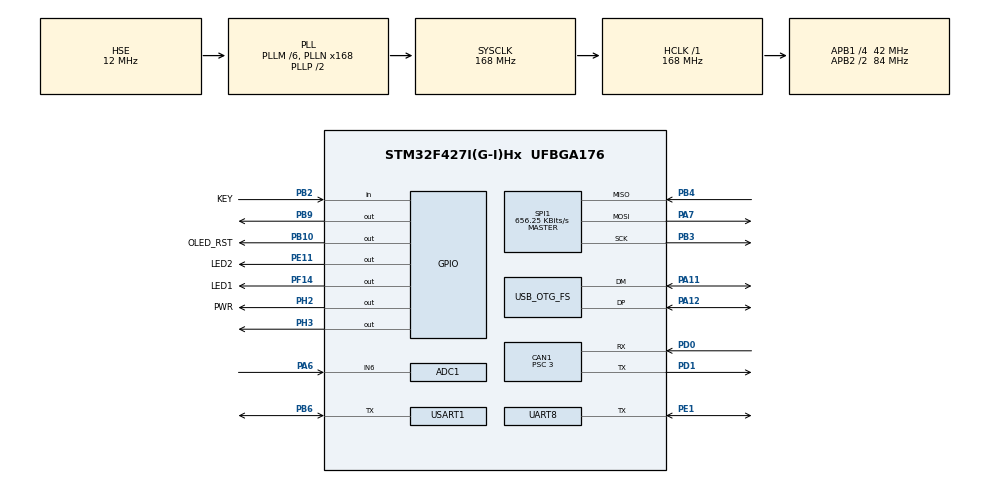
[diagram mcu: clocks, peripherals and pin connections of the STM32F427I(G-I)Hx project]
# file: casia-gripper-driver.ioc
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ADC1.Channel-0\#ChannelRegularConversion=ADC_CHANNEL_6
ADC1.NbrOfConversionFlag=1
ADC1.Rank-0\#ChannelRegularConversion=1
ADC1.SamplingTime-0\#ChannelRegularConversion=ADC_SAMPLETIME_3CYCLES
ADC1.master=1
CAN1.ABOM=ENABLE
CAN1.BS1=CAN_BS1_9TQ
CAN1.BS2=CAN_BS2_4TQ
CAN1.CalculateTimeBit=1000
CAN1.CalculateTimeQuantum=71.42857142857143
CAN1.Prescaler=3
CAN1.SJW=CAN_SJW_1TQ
Mcu.Family=STM32F4
Mcu.Name=STM32F427I(G-I)Hx
Mcu.Package=UFBGA176
NVIC.CAN1_RX0_IRQn=true\:0\:0\:false\:false\:true\:true\:true
NVIC.CAN1_TX_IRQn=true\:0\:0\:false\:false\:true\:true\:true
NVIC.OTG_FS_IRQn=true\:0\:0\:false\:false\:true\:false\:true
NVIC.PriorityGroup=NVIC_PRIORITYGROUP_4
NVIC.TIM1_UP_TIM10_IRQn=true\:0\:0\:false\:false\:true\:true\:true
NVIC.TIM6_DAC_IRQn=true\:0\:0\:false\:false\:true\:true\:true
NVIC.TimeBase=TIM6_DAC_IRQn
NVIC.TimeBaseIP=TIM6
NVIC.UART8_IRQn=true\:0\:0\:false\:false\:true\:true\:true
NVIC.USART1_IRQn=true\:0\:0\:false\:false\:true\:true\:true
PA11.GPIO_PuPd=GPIO_PULLUP
PA11.Mode=Device_Only
PA11.Signal=USB_OTG_FS_DM
PA12.GPIO_PuPd=GPIO_PULLUP
PA12.Mode=Device_Only
PA12.Signal=USB_OTG_FS_DP
PA13.Mode=Serial_Wire
PA13.Signal=SYS_JTMS-SWDIO
PA14.Mode=Serial_Wire
PA14.Signal=SYS_JTCK-SWCLK
PA6.Signal=ADCx_IN6
PA7.Mode=Full_Duplex_Master
PA7.Signal=SPI1_MOSI
PB10.GPIO_Label=OLED_RST
PB10.Signal=GPIO_Output
PB2/BOOT1.GPIO_Label=KEY
PB2/BOOT1.Signal=GPIO_Input
PB3.Mode=Full_Duplex_Master
PB3.Signal=SPI1_SCK
PB4.Mode=Full_Duplex_Master
PB4.Signal=SPI1_MISO
PB6.Mode=Half_duplex(single_wire_mode)
PB6.Signal=USART1_TX
PB9.Signal=GPIO_Output
PD0.Mode=Master
PD0.Signal=CAN1_RX
PD1.Mode=Master
PD1.Signal=CAN1_TX
PE1.Mode=Half_duplex(single_wire_mode)
PE1.Signal=UART8_TX
PE11.GPIO_Label=LED2
PE11.Signal=GPIO_Output
PF14.GPIO_Label=LED1
PF14.Signal=GPIO_Output
PH0/OSC_IN.Mode=HSE-External-Oscillator
PH0/OSC_IN.Signal=RCC_OSC_IN
PH1/OSC_OUT.Mode=HSE-External-Oscillator
PH1/OSC_OUT.Signal=RCC_OSC_OUT
PH2.GPIO_Label=PWR
PH2.Signal=GPIO_Output
PH3.Signal=GPIO_Output
ProjectManager.HeapSize=0x200
ProjectManager.StackSize=0x400
ProjectManager.TargetToolchain=STM32CubeIDE
RCC.48MHZClocksFreq_Value=48000000
RCC.AHBFreq_Value=168000000
RCC.APB1CLKDivider=RCC_HCLK_DIV4
RCC.APB1Freq_Value=42000000
RCC.APB1TimFreq_Value=84000000
RCC.APB2CLKDivider=RCC_HCLK_DIV2
RCC.APB2Freq_Value=84000000
RCC.APB2TimCLKDivider=2
RCC.APB2TimFreq_Value=168000000
RCC.CortexFreq_Value=168000000
RCC.HCLKFreq_Value=168000000
RCC.HSE_VALUE=12000000
RCC.HSI_VALUE=16000000
RCC.LSE_VALUE=32768
RCC.PLLM=6
RCC.PLLN=168
RCC.PLLQ=7
RCC.SYSCLKFreq_VALUE=168000000
RCC.SYSCLKSource=RCC_SYSCLKSOURCE_PLLCLK
RCC.VCOOutputFreq_Value=336000000
SH.ADCx_IN6.0=ADC1_IN6,IN6
SPI1.BaudRatePrescaler=SPI_BAUDRATEPRESCALER_128
SPI1.CalculateBaudRate=656.25 KBits/s
SPI1.Direction=SPI_DIRECTION_2LINES
SPI1.Mode=SPI_MODE_MASTER
SPI1.VirtualType=VM_MASTER
TIM10.Period=999
TIM10.Prescaler=8400-1
UART8.VirtualMode=Asynchronous
USART1.VirtualMode=VM_ASYNC
USB_DEVICE.CLASS_NAME_FS=CDC
USB_DEVICE.VirtualMode-CDC_FS=Cdc
USB_DEVICE.VirtualModeFS=Cdc_FS
USB_OTG_FS.VirtualMode=Device_Only
VP_SYS_VS_tim6.Mode=TIM6
VP_TIM10_VS_ClockSourceINT.Mode=Enable_Timer
VP_USB_DEVICE_VS_USB_DEVICE_CDC_FS.Mode=CDC_FS
board=demo

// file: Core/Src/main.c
/* USER CODE BEGIN Header */
/**
 ******************************************************************************
 * @file           : main.c
 * @brief          : Main program body
 ******************************************************************************
 * @attention
 *
 * <h2><center>&copy; Copyright (c) 2019 STMicroelectronics.
 * All rights reserved.</center></h2>
 *
 * This software component is licensed by ST under BSD 3-Clause license,
 * the "License"; You may not use this file except in compliance with the
 * License. You may obtain a copy of the License at:
 *                        opensource.org/licenses/BSD-3-Clause
 *
 ******************************************************************************
 */
/* USER CODE END Header */

#include "main.h"
#include "adc.h"
#include "can.h"
#include "spi.h"
#include "tim.h"
#include "usart.h"
#include "usb_device.h"
#include "gpio.h"

/* USER CODE BEGIN Includes */
#include "stdio.h"

#include "oled.h"
#include "bsp_can.h"
#include "pid.h"
#include "usbd_cdc_if.h"
//#include "remote_control.h"
/* USER CODE END Includes */

/* USER CODE BEGIN PD */
#define APP_RX_DATA_SIZE  2048
#define APP_TX_DATA_SIZE  2048
/* USER CODE END PD */

/* USER CODE BEGIN PV */

PID_TypeDef motor_pid[4];
int32_t set_spd = 0;
int32_t set_spd1 = 0;
int32_t set_spd2 = 0;
static int key_sta = 0;
int speed_step_sign = +1;

extern uint8_t UserRxBufferFS[APP_RX_DATA_SIZE];
extern uint32_t buffsize;
extern uint8_t UserTxBufferFS[APP_TX_DATA_SIZE];
extern uint32_t UserTxBufPtrOut;

uint16_t a[50];
char message[50];
char TxBuffer[50];
uint16_t TIM_COUNT[2];
#define SpeedStep 500

//uint32_t preticks;
//uint16_t i,len;

/* USER CODE END PV */

void SystemClock_Config(void);

/* USER CODE BEGIN 0 */
void Key_Scan()
{
    if (HAL_GPIO_ReadPin(KEY_GPIO_Port, KEY_Pin) == GPIO_PIN_RESET)
    {
        if (key_sta == 0)
        {
            key_sta = 1;
            set_spd1 += SpeedStep * speed_step_sign;

            if (set_spd1 > 1000)
            {
                speed_step_sign = -1;
            }
            if (set_spd1 < -1000)
            {
                speed_step_sign = 1;
            }
        }
    }
    else
    {
        key_sta = 0;
    }

}

/* USER CODE END 0 */

int main(void)
{

  /* MCU Configuration--------------------------------------------------------*/

  /* Reset of all peripherals, Initializes the Flash interface and the Systick. */
  HAL_Init();

  /* Configure the system clock */
  SystemClock_Config();

  /* Initialize all configured peripherals */
  MX_GPIO_Init();
  MX_CAN1_Init();
  MX_ADC1_Init();
  MX_SPI1_Init();
  MX_TIM10_Init();
  MX_UART8_Init();
  MX_USB_DEVICE_Init();
  MX_USART1_UART_Init();
  /* USER CODE BEGIN 2 */

//  printf("This is one wire uart demo: \r\n");
    // Power on the motor output 24V (PH2)
    HAL_GPIO_WritePin(PWR_GPIO_Port, PWR_Pin, GPIO_PIN_SET);
    // Power on the motor output 24V (PH3)
	HAL_GPIO_WritePin(GPIOH, GPIO_PIN_3, GPIO_PIN_SET);

    HAL_TIM_Base_Start_IT(&htim10);

    // Config & Start CAN1
    BSP_CAN1_Init();

    // OLED init
    led_off();
    oled_init();
    oled_clear(Pen_Clear);
    oled_refresh_gram();

    /*< 初始化PID参数 >*/
    for (int i = 0; i < 4; i++)
    {
        pid_init(&motor_pid[i]);
        motor_pid[i].f_param_init(&motor_pid[i], PID_Speed, 16384, 5000, 10, 0,
                8000, 0, 1.5, 0.1, 0);
    }

    Key_Scan();
//    set_spd1 = 0;
//    set_spd2 = 0;
    set_spd = 0;
  /* USER CODE END 2 */

  /* Infinite loop */
  /* USER CODE BEGIN WHILE */
    while(1)
    {
//    	HAL_GPIO_TogglePin(GPIOF,GPIO_PIN_14);
//    	HAL_GPIO_TogglePin(GPIOE,GPIO_PIN_11);
//    	HAL_Delay(500);
//    	if((BufWrite != BufRead) && (RevTicks > 5)){
//    		len = (BufWrite + 255 - BufRead)%255;
//    		HAL_HalfDuplex_EnableTransmitter(&huart8);
//
//    		for(i = 0;i < len;i++){
//    			HAL_UART_Transmit(&huart8,RxBuf+BufRead,1,100);
//    			BufRead++;
//
//    		}
//    		HAL_HalfDuplex_EnableReceiver(&huart8);
//    		printf("\r\n");
//    	}

    	  printf("This is one wire uart demo: \r\n");
//	 HAL_Delay(300);
//	 HAL_GPIO_TogglePin(GPIOF, GPIO_PIN_14);

//        for(int k=1;k<buffsize;k++){
//    	if(UserRxBufferFS[k] >= 48 && UserRxBufferFS[k] <= 57)
//        	{
//        		a[k] = UserRxBufferFS[k] - 48;
//        	}
//        }
//		for(int k=1;k<buffsize;k++){
//						set_spd=set_spd*10+a[k];
//				}
//        printf("%d",UserRxBufferFS[1]);

    	 Main_loop();
	 if(UserRxBufferFS[1] >= 48 && UserRxBufferFS[1] <= 57){
	 	if(buffsize==2){

			set_spd=UserRxBufferFS[1]-48;

	 	}

	 	if(buffsize==3){
			 set_spd=UserRxBufferFS[1]-48;
			 set_spd=set_spd*10;
			 set_spd =set_spd+UserRxBufferFS[2]-48;
	 	}

		if(buffsize==4){

			set_spd=UserRxBufferFS[1]-48;
			set_spd=set_spd*10;
			set_spd =set_spd+UserRxBufferFS[2]-48;
			set_spd=set_spd*10;
			set_spd =set_spd+UserRxBufferFS[3]-48;

		}
		if(buffsize==5){
			 set_spd=UserRxBufferFS[1]-48;
			 set_spd=set_spd*10;
			 set_spd =set_spd+UserRxBufferFS[2]-48;
			 set_spd=set_spd*10;
			 set_spd =set_spd+UserRxBufferFS[3]-48;
			 set_spd=set_spd*10;
			 set_spd =set_spd+UserRxBufferFS[4]-48;
		}
		if(buffsize==6 && UserRxBufferFS[1] == 49 && UserRxBufferFS[2] == 48 &&
			UserRxBufferFS[3] == 48 && UserRxBufferFS[4] == 48
		    && UserRxBufferFS[5] == 48)
		{
			set_spd = 10000;
		}

	 }
	 else if(UserRxBufferFS[1] == 45)
	 {
		 	if(buffsize==3){

				set_spd=UserRxBufferFS[2]-48;

		 	}

		 	if(buffsize==4){
				 set_spd=UserRxBufferFS[2]-48;
				 set_spd=set_spd*10;
				 set_spd =set_spd+UserRxBufferFS[3]-48;
		 	}

			if(buffsize==5){

				set_spd=UserRxBufferFS[2]-48;
				set_spd=set_spd*10;
				set_spd =set_spd+UserRxBufferFS[3]-48;
				set_spd=set_spd*10;
				set_spd =set_spd+UserRxBufferFS[4]-48;

			}
			if(buffsize==6){
				 set_spd=UserRxBufferFS[2]-48;
				 set_spd=set_spd*10;
				 set_spd =set_spd+UserRxBufferFS[3]-48;
				 set_spd=set_spd*10;
				 set_spd =set_spd+UserRxBufferFS[4]-48;
				 set_spd=set_spd*10;
				 set_spd =set_spd+UserRxBufferFS[5]-48;
			}
			if(buffsize==7 && UserRxBufferFS[6] == 48 && UserRxBufferFS[2] == 49 &&
				UserRxBufferFS[3] == 48 && UserRxBufferFS[4] == 48
				&& UserRxBufferFS[5] == 48){
						set_spd = 10000;
					}
			set_spd = -set_spd;

	 }
		if(UserRxBufferFS[0]=='a'){
						set_spd1 = set_spd;
					}
		if(UserRxBufferFS[0]=='b'){
						set_spd2 = set_spd;
					}

        Key_Scan();

        for (int i = 0; i < 3; i++)
        {
            motor_pid[i].target = set_spd2;
            motor_pid[i].f_cal_pid(&motor_pid[i], moto_chassis[i].speed_rpm);

        }
        motor_pid[3].target = set_spd1;
                   motor_pid[3].f_cal_pid(&motor_pid[3], moto_chassis[3].speed_rpm);

        set_moto_current(&hcan1, motor_pid[0].output, motor_pid[1].output,
                motor_pid[2].output, motor_pid[3].output);

        HAL_Delay(10);      //PID控制频率100HZ
    /* USER CODE END WHILE */

    }
}

void SystemClock_Config(void)
{
  RCC_OscInitTypeDef RCC_OscInitStruct = {0};
  RCC_ClkInitTypeDef RCC_ClkInitStruct = {0};

  /** Configure the main internal regulator output voltage
  */
  __HAL_RCC_PWR_CLK_ENABLE();
  __HAL_PWR_VOLTAGESCALING_CONFIG(PWR_REGULATOR_VOLTAGE_SCALE1);
  /** Initializes the CPU, AHB and APB busses clocks
  */
  RCC_OscInitStruct.OscillatorType = RCC_OSCILLATORTYPE_HSE;
  RCC_OscInitStruct.HSEState = RCC_HSE_ON;
  RCC_OscInitStruct.PLL.PLLState = RCC_PLL_ON;
  RCC_OscInitStruct.PLL.PLLSource = RCC_PLLSOURCE_HSE;
  RCC_OscInitStruct.PLL.PLLM = 6;
  RCC_OscInitStruct.PLL.PLLN = 168;
  RCC_OscInitStruct.PLL.PLLP = RCC_PLLP_DIV2;
  RCC_OscInitStruct.PLL.PLLQ = 7;
  if (HAL_RCC_OscConfig(&RCC_OscInitStruct) != HAL_OK)
  {
    Error_Handler();
  }
  /** Initializes the CPU, AHB and APB busses clocks
  */
  RCC_ClkInitStruct.ClockType = RCC_CLOCKTYPE_HCLK|RCC_CLOCKTYPE_SYSCLK
                              |RCC_CLOCKTYPE_PCLK1|RCC_CLOCKTYPE_PCLK2;
  RCC_ClkInitStruct.SYSCLKSource = RCC_SYSCLKSOURCE_PLLCLK;
  RCC_ClkInitStruct.AHBCLKDivider = RCC_SYSCLK_DIV1;
  RCC_ClkInitStruct.APB1CLKDivider = RCC_HCLK_DIV4;
  RCC_ClkInitStruct.APB2CLKDivider = RCC_HCLK_DIV2;

  if (HAL_RCC_ClockConfig(&RCC_ClkInitStruct, FLASH_LATENCY_5) != HAL_OK)
  {
    Error_Handler();
  }
}

void HAL_TIM_PeriodElapsedCallback(TIM_HandleTypeDef *htim)
{
  if (htim->Instance == TIM6) {
    HAL_IncTick();
  }
  /* USER CODE BEGIN Callback 1 */

    if (htim->Instance == TIM10)
    {
        oled_clear(Pen_Clear);
        oled_showstring1(0, 2, "Parameters:");
        sprintf(message, "%c",UserRxBufferFS[0]);
        //sprintf(message, "%d", moto_chassis[1].last_angle);
        oled_showstring1(1, 2, message);
        sprintf(message, "%ld",set_spd);
        //sprintf(message, "%d", moto_chassis[1].angle);
        oled_showstring1(2, 2, message);
        //sprintf(message, "%d", moto_chassis[1].speed_rpm);
        sprintf(message, "%ld",set_spd1);
        oled_showstring1(3, 2, message);
        //sprintf(message, "%.3f", moto_chassis[1].real_current);
        sprintf(message, "%ld",set_spd2);
        oled_showstring1(4, 2, message);
        oled_refresh_gram();
    }
  /* USER CODE END Callback 1 */
}

void Error_Handler(void)
{
}

/************************ (C) COPYRIGHT STMicroelectronics *****END OF FILE****/
